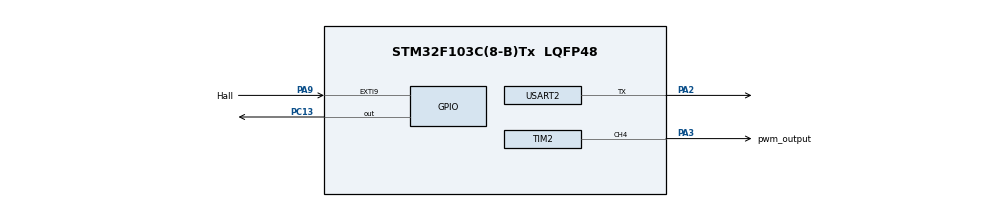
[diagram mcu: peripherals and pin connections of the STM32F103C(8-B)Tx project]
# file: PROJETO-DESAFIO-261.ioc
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Mcu.Family=STM32F1
Mcu.Name=STM32F103C(8-B)Tx
Mcu.Package=LQFP48
NVIC.EXTI9_5_IRQn=true\:0\:0\:false\:false\:true\:true\:true\:true
NVIC.PriorityGroup=NVIC_PRIORITYGROUP_4
NVIC.TIM1_UP_IRQn=true\:0\:0\:false\:false\:true\:true\:true\:true
PA13.Mode=Serial_Wire
PA13.Signal=SYS_JTMS-SWDIO
PA14.Mode=Serial_Wire
PA14.Signal=SYS_JTCK-SWCLK
PA2.Mode=Half_duplex(single_wire_mode)
PA2.Signal=USART2_TX
PA3.GPIO_Label=pwm_output
PA3.GPIO_Speed=GPIO_SPEED_FREQ_LOW
PA3.Signal=S_TIM2_CH4
PA9.GPIO_Label=Hall
PA9.GPIO_ModeDefaultEXTI=GPIO_MODE_IT_FALLING
PA9.GPIO_PuPd=GPIO_NOPULL
PA9.Signal=GPXTI9
PC13-TAMPER-RTC.PinState=GPIO_PIN_SET
PC13-TAMPER-RTC.Signal=GPIO_Output
ProjectManager.HeapSize=0x200
ProjectManager.StackSize=0x400
ProjectManager.TargetToolchain=STM32CubeIDE
RCC.APB1Freq_Value=8000000
RCC.APB2Freq_Value=8000000
SH.S_TIM2_CH4.0=TIM2_CH4,PWM Generation4 CH4
TIM1.Period=65535
TIM1.Prescaler=79
TIM2.Channel-PWM\ Generation4\ CH4=TIM_CHANNEL_4
TIM2.Period=799
TIM2.Prescaler=0
TIM2.Pulse-PWM\ Generation4\ CH4=0
USART2.Mode=MODE_TX
USART2.VirtualMode=VM_ASYNC
VP_TIM1_VS_ClockSourceINT.Mode=Internal
VP_TIM2_VS_ClockSourceINT.Mode=Internal
board=custom

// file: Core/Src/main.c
/* USER CODE BEGIN Header */
/**
  ******************************************************************************
  * @file           : main.c
  * @brief          : Main program body
  ******************************************************************************
  * @attention
  *
  * Copyright (c) 2026 STMicroelectronics.
  * All rights reserved.
  *
  * This software is licensed under terms that can be found in the LICENSE file
  * in the root directory of this software component.
  * If no LICENSE file comes with this software, it is provided AS-IS.
  *
  ******************************************************************************
  */
/* USER CODE END Header */
#include "main.h"
/* USER CODE BEGIN Includes */
#include "stdio.h"
/* USER CODE END Includes */

/* USER CODE BEGIN PTD */
typedef struct{
	float Kp, Ki, Kd; 				// Gains

	float integral;					// Accumulated error

	float prev_error;				// PrevError for the derivative term
	float min_output, max_output;	// Actuator limits

} PID;
/* USER CODE END PTD */

/* USER CODE BEGIN PD */
/*DEFINES e VARIÁVEIS GLOBAIS*/
#define NUM_FUROS	20
#define TIMER_FREQ	100000
#define PWM_MAX		799
#define PWM_MIN		0

/*----------------------------------------------------------------------------*/
volatile uint16_t last_capture = 0;
volatile uint8_t first_pulse = 1;
volatile uint16_t delta_ticks = 0;
volatile uint8_t new_rpm_measurement = 0;

float rpm = 0.0f;
float setpoint  = 160;

/*----------------------------------------------------------------------------*/

/* USER CODE END PD */

TIM_HandleTypeDef htim1;
TIM_HandleTypeDef htim2;

UART_HandleTypeDef huart2;

void SystemClock_Config(void);
static void MX_GPIO_Init(void);
static void MX_TIM1_Init(void);
static void MX_TIM2_Init(void);
static void MX_USART2_UART_Init(void);
/* USER CODE BEGIN PFP */
/*PID init Function*/
void init_PID(PID *pid, float Kp, float Ki, float Kd, float min_output, float max_output);
/*PID Update function*/
float pid_update(PID *pid, float setpoint, float measurement, volatile uint16_t delta_ticks);

int __io_putchar(int ch);
/* USER CODE END PFP */

int main(void)
{

  /* USER CODE BEGIN 1 */
	/*Eu deveria fazer essas declarações aqui ou dentro de uma callback?*/
	PID motor_PID;
	init_PID(&motor_PID, 1.5, 0.0,0.0, PWM_MIN, PWM_MAX);

	float pid_duty_output = 0; /*Essa declaração pode dar conflito por RPM só ser configurado dentro de while? Verificar depois*/
	float duty_percent = 0;

  /* USER CODE END 1 */

  /* MCU Configuration--------------------------------------------------------*/

  /* Reset of all peripherals, Initializes the Flash interface and the Systick. */
  HAL_Init();

  /* Configure the system clock */
  SystemClock_Config();

  /* Initialize all configured peripherals */
  MX_GPIO_Init();
  MX_TIM1_Init();
  MX_TIM2_Init();
  MX_USART2_UART_Init();
  /* USER CODE BEGIN 2 */
  HAL_TIM_Base_Start(&htim1);
  HAL_TIM_PWM_Start(&htim2, TIM_CHANNEL_4);
  __HAL_TIM_SET_COMPARE(&htim2, TIM_CHANNEL_4, 0); /*Duty Cycle PWM fixo*/

  /* USER CODE END 2 */

  /* Infinite loop */
  while (1)
  {

    /* USER CODE BEGIN 3 */
	  if (new_rpm_measurement)
	  {
	      new_rpm_measurement = 0;

	      if (delta_ticks > 0)
	      {
	          rpm = (60.0f * TIMER_FREQ) / (NUM_FUROS * delta_ticks); // RPM calc (delta_ticks retirado)

	          /*variável responsável pela atualização da HAL_TIM_SET_COMPARE. Duty Cycle*/
	          pid_duty_output = pid_update(&motor_PID, setpoint, rpm, delta_ticks);

	          duty_percent = (pid_duty_output * 100.0)/PWM_MAX;

	          __HAL_TIM_SET_COMPARE(&htim2, TIM_CHANNEL_4, (uint16_t)pid_duty_output);
	    	  printf("RPM: %.2f | PID: %.2f | Duty Cycle: %.2f\r\n", rpm, pid_duty_output, duty_percent);
	    	  HAL_Delay(50);
	      }
	  }
  }
  /* USER CODE END 3 */
}

void SystemClock_Config(void)
{
  RCC_OscInitTypeDef RCC_OscInitStruct = {0};
  RCC_ClkInitTypeDef RCC_ClkInitStruct = {0};

  /** Initializes the RCC Oscillators according to the specified parameters
  * in the RCC_OscInitTypeDef structure.
  */
  RCC_OscInitStruct.OscillatorType = RCC_OSCILLATORTYPE_HSI;
  RCC_OscInitStruct.HSIState = RCC_HSI_ON;
  RCC_OscInitStruct.HSICalibrationValue = RCC_HSICALIBRATION_DEFAULT;
  RCC_OscInitStruct.PLL.PLLState = RCC_PLL_NONE;
  if (HAL_RCC_OscConfig(&RCC_OscInitStruct) != HAL_OK)
  {
    Error_Handler();
  }

  /** Initializes the CPU, AHB and APB buses clocks
  */
  RCC_ClkInitStruct.ClockType = RCC_CLOCKTYPE_HCLK|RCC_CLOCKTYPE_SYSCLK
                              |RCC_CLOCKTYPE_PCLK1|RCC_CLOCKTYPE_PCLK2;
  RCC_ClkInitStruct.SYSCLKSource = RCC_SYSCLKSOURCE_HSI;
  RCC_ClkInitStruct.AHBCLKDivider = RCC_SYSCLK_DIV1;
  RCC_ClkInitStruct.APB1CLKDivider = RCC_HCLK_DIV1;
  RCC_ClkInitStruct.APB2CLKDivider = RCC_HCLK_DIV1;

  if (HAL_RCC_ClockConfig(&RCC_ClkInitStruct, FLASH_LATENCY_0) != HAL_OK)
  {
    Error_Handler();
  }
}

static void MX_TIM1_Init(void)
{

  TIM_ClockConfigTypeDef sClockSourceConfig = {0};
  TIM_MasterConfigTypeDef sMasterConfig = {0};

  htim1.Instance = TIM1;
  htim1.Init.Prescaler = 79;
  htim1.Init.CounterMode = TIM_COUNTERMODE_UP;
  htim1.Init.Period = 65535;
  htim1.Init.ClockDivision = TIM_CLOCKDIVISION_DIV1;
  htim1.Init.RepetitionCounter = 0;
  htim1.Init.AutoReloadPreload = TIM_AUTORELOAD_PRELOAD_DISABLE;
  if (HAL_TIM_Base_Init(&htim1) != HAL_OK)
  {
    Error_Handler();
  }
  sClockSourceConfig.ClockSource = TIM_CLOCKSOURCE_INTERNAL;
  if (HAL_TIM_ConfigClockSource(&htim1, &sClockSourceConfig) != HAL_OK)
  {
    Error_Handler();
  }
  sMasterConfig.MasterOutputTrigger = TIM_TRGO_RESET;
  sMasterConfig.MasterSlaveMode = TIM_MASTERSLAVEMODE_DISABLE;
  if (HAL_TIMEx_MasterConfigSynchronization(&htim1, &sMasterConfig) != HAL_OK)
  {
    Error_Handler();
  }

}

static void MX_TIM2_Init(void)
{

  TIM_ClockConfigTypeDef sClockSourceConfig = {0};
  TIM_MasterConfigTypeDef sMasterConfig = {0};
  TIM_OC_InitTypeDef sConfigOC = {0};

  htim2.Instance = TIM2;
  htim2.Init.Prescaler = 0;
  htim2.Init.CounterMode = TIM_COUNTERMODE_UP;
  htim2.Init.Period = 799;
  htim2.Init.ClockDivision = TIM_CLOCKDIVISION_DIV1;
  htim2.Init.AutoReloadPreload = TIM_AUTORELOAD_PRELOAD_DISABLE;
  if (HAL_TIM_Base_Init(&htim2) != HAL_OK)
  {
    Error_Handler();
  }
  sClockSourceConfig.ClockSource = TIM_CLOCKSOURCE_INTERNAL;
  if (HAL_TIM_ConfigClockSource(&htim2, &sClockSourceConfig) != HAL_OK)
  {
    Error_Handler();
  }
  if (HAL_TIM_PWM_Init(&htim2) != HAL_OK)
  {
    Error_Handler();
  }
  sMasterConfig.MasterOutputTrigger = TIM_TRGO_RESET;
  sMasterConfig.MasterSlaveMode = TIM_MASTERSLAVEMODE_DISABLE;
  if (HAL_TIMEx_MasterConfigSynchronization(&htim2, &sMasterConfig) != HAL_OK)
  {
    Error_Handler();
  }
  sConfigOC.OCMode = TIM_OCMODE_PWM1;
  sConfigOC.Pulse = 0;
  sConfigOC.OCPolarity = TIM_OCPOLARITY_HIGH;
  sConfigOC.OCFastMode = TIM_OCFAST_DISABLE;
  if (HAL_TIM_PWM_ConfigChannel(&htim2, &sConfigOC, TIM_CHANNEL_4) != HAL_OK)
  {
    Error_Handler();
  }
  HAL_TIM_MspPostInit(&htim2);

}

static void MX_USART2_UART_Init(void)
{

  huart2.Instance = USART2;
  huart2.Init.BaudRate = 115200;
  huart2.Init.WordLength = UART_WORDLENGTH_8B;
  huart2.Init.StopBits = UART_STOPBITS_1;
  huart2.Init.Parity = UART_PARITY_NONE;
  huart2.Init.Mode = UART_MODE_TX;
  huart2.Init.HwFlowCtl = UART_HWCONTROL_NONE;
  huart2.Init.OverSampling = UART_OVERSAMPLING_16;
  if (HAL_HalfDuplex_Init(&huart2) != HAL_OK)
  {
    Error_Handler();
  }

}

static void MX_GPIO_Init(void)
{
  GPIO_InitTypeDef GPIO_InitStruct = {0};

  /* GPIO Ports Clock Enable */
  __HAL_RCC_GPIOC_CLK_ENABLE();
  __HAL_RCC_GPIOA_CLK_ENABLE();

  /*Configure GPIO pin Output Level */
  HAL_GPIO_WritePin(GPIOC, GPIO_PIN_13, GPIO_PIN_SET);

  /*Configure GPIO pin : PC13 */
  GPIO_InitStruct.Pin = GPIO_PIN_13;
  GPIO_InitStruct.Mode = GPIO_MODE_OUTPUT_PP;
  GPIO_InitStruct.Pull = GPIO_NOPULL;
  GPIO_InitStruct.Speed = GPIO_SPEED_FREQ_LOW;
  HAL_GPIO_Init(GPIOC, &GPIO_InitStruct);

  /*Configure GPIO pin : Hall_Pin */
  GPIO_InitStruct.Pin = Hall_Pin;
  GPIO_InitStruct.Mode = GPIO_MODE_IT_FALLING;
  GPIO_InitStruct.Pull = GPIO_NOPULL;
  HAL_GPIO_Init(Hall_GPIO_Port, &GPIO_InitStruct);

  /* EXTI interrupt init*/
  HAL_NVIC_SetPriority(EXTI9_5_IRQn, 0, 0);
  HAL_NVIC_EnableIRQ(EXTI9_5_IRQn);

}

/* USER CODE BEGIN 4 */
void HAL_GPIO_EXTI_Callback(uint16_t GPIO_Pin)
{
    if (GPIO_Pin == Hall_Pin)
    {
        uint16_t current_capture = __HAL_TIM_GET_COUNTER(&htim1);

        /*Toggle Led_Pin*/
        HAL_GPIO_TogglePin(GPIOC, GPIO_PIN_13);

        /*First Pulse logic*/
        if (first_pulse)
        {
            last_capture = current_capture;
            first_pulse = 0;
        }
        else
        {
        	/*D_t = Tf - Ti*/
            delta_ticks = (uint16_t)(current_capture - last_capture);
            last_capture = current_capture;
            new_rpm_measurement = 1;
        }
    }
}

/*=========================================================================================*/

void init_PID(PID *pid, float Kp, float Ki, float Kd, float min_output, float max_output){

	pid->Kp=Kp;	pid->Ki=Ki;	pid->Kd=Kd;   	// Set gain values

	pid->integral = 0.0f; 					// Set accumulated init value

	pid->prev_error = 0.0f;					// Set prev_error init value

	pid->min_output = min_output;
	pid->max_output = max_output;
}

float pid_update(PID *pid, float setpoint, float measurement, volatile uint16_t delta_ticks){

	//delta-ticks convertion to seconds
	float dt =  (float)delta_ticks/TIMER_FREQ;

	float error = setpoint - measurement;

	// Proportional
	float P = pid->Kp * error;

	//Integral
	pid->integral+= error * dt;
	float I = pid->integral * pid->Ki;

	//Derivative
	float D = (pid->Kd * (error - pid->prev_error))/dt;
	pid->prev_error = error;

	float output = P + I + D;

	//Anti wind-up
	if (output > pid->max_output){
		output = pid->max_output;
		pid->integral -= error * dt;
	}

	else if(output < pid->min_output){
		output = pid->min_output;
		pid->integral  -= error * dt;
	}

	return output;
}

int __io_putchar(int ch){

	HAL_UART_Transmit(&huart2, (uint8_t*)&ch, 1, HAL_MAX_DELAY);

	return ch;
}

/* USER CODE END 4 */

void Error_Handler(void)
{
  __disable_irq();
  while (1)
  {
  }
}
